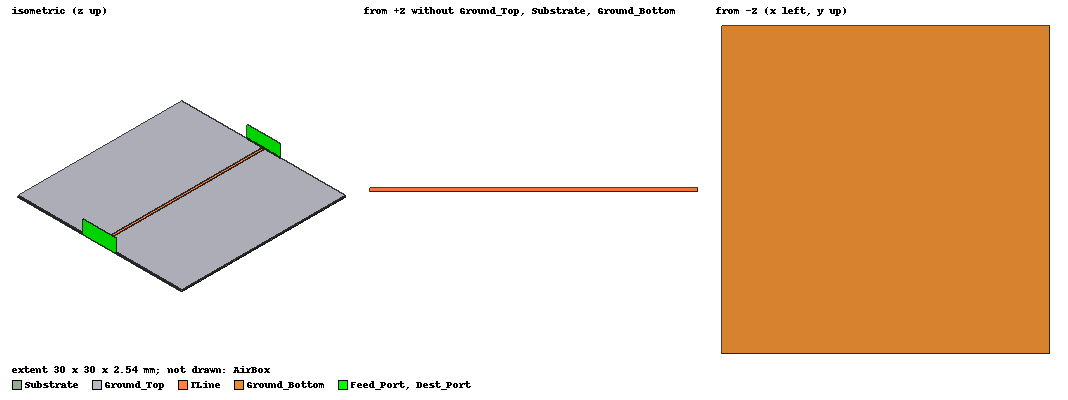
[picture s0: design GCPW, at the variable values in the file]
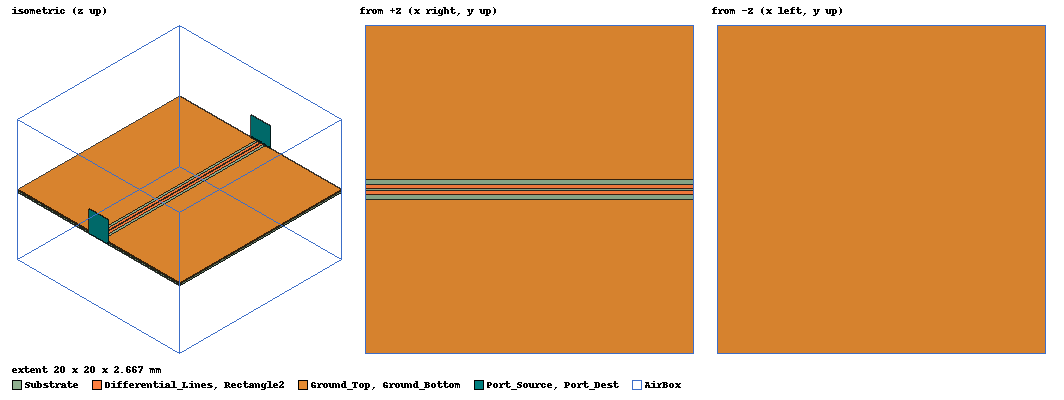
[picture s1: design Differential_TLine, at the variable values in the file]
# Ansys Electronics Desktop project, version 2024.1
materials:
  vacuum: permittivity=1
  Isola I-Speed (R): permittivity=3.64 dielectric_loss_tangent=0.006
  pec: conductivity=1e+30
  Rogers RO4350 (tm): permittivity=3.66 dielectric_loss_tangent=0.004

design GCPW (HFSS, HFSS Modal Network, model units mm)
options: Allow_Material_Override
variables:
  substrate = 30mm
  h_L1L2 = 10mil
  gcpw_width = 12mil
  gcpw_gap = 5mil
  h_AirBox = 20mm
  feedport_width = 20*gcpw_width
  feedport_height = 10*h_L1L2
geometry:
  Substrate [Rogers RO4350 (tm)] = box(corner=(-substrate/2, -substrate/2, 0mm), size=(substrate, substrate, -h_L1L2))
  TLine [pec] = rectangle(corner=(-substrate/2, -gcpw_width/2, 0mm), x_size=substrate, y_size=gcpw_width)
  Ground_Top_Cutout = rectangle(corner=(-substrate/2, -gcpw_width/2 - gcpw_gap, 0mm), x_size=substrate, y_size=gcpw_width + 2*gcpw_gap)
  Ground_Top [pec] = rectangle(corner=(-substrate/2, -substrate/2, 0mm), x_size=substrate, y_size=substrate)
  Ground_Top.subtract(Ground_Top_Cutout)
  Ground_Bottom = rectangle(corner=(-substrate/2, -substrate/2, -h_L1L2), x_size=substrate, y_size=substrate)
  AirBox [vacuum] = box(corner=(-substrate/2, -substrate/2, -h_AirBox/2), size=(substrate, substrate, h_AirBox))
  Feed_Port = rectangle(corner=(substrate/2, -feedport_width/2, -h_L1L2), y_size=feedport_width, z_size=feedport_height)
  Dest_Port = rectangle(corner=(-substrate/2, -feedport_width/2, -h_L1L2), y_size=feedport_width, z_size=feedport_height)
  Via_Wall = rectangle(corner=(-substrate/2, -gcpw_width/2 - gcpw_gap, 0mm), z_size=-h_L1L2, x_size=substrate)
  Rectangle2 = rectangle(corner=(-substrate/2, gcpw_width/2 + gcpw_gap, 0mm), z_size=-h_L1L2, x_size=substrate)
  Via_Wall.unite(Rectangle2)
  [TLine, Ground_Top].thicken(0.7mil)
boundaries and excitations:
  Radiation: Radiation Objects=AirBox
  PerfE_Ground_Bottom: Perfect E Objects=Ground_Bottom
  PerfE_Ground_Top: Perfect E Objects=Ground_Top
  PerfE_TLine: Perfect E Objects=TLine
  PerfE_Via_Wall: Perfect E Objects=Via_Wall
  1: Wave Port Objects=Feed_Port WavePortType=Modal NumModes=1 Modes{Mode1{IntLine{(15, 0, -0.254) -> (15, 0, 2.286)} CharImp=Zpi}}
  2: Wave Port Objects=Dest_Port WavePortType=Modal NumModes=1 Modes{Mode1{IntLine{(-15, 0, -0.254) -> (-15, 0, 2.286)} CharImp=Zpi}}
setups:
  Setup1: HfssDriven Frequency=5GHz MaxDeltaS=0.01 MaximumPasses=16 MinimumPasses=1 MinimumConvergedPasses=1 PercentRefinement=30 BasisOrder=1 PortAccuracy=2 DrivenSolverType="Direct Solver"
    sweep Sweep: 2.5GHz to 7.5GHz, 401 points; Type=Interpolating InterpTolerance=0.5 InterpMaxSolns=250 InterpUsePortImped=false PassivityErrorTolerance=0.0001
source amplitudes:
  1:1: 1W 0deg
  2:1: 0W 0deg
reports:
  Port Zo Plot 1: re(Zo(1)) vs Freq on Setup1 : Sweep
  S Parameter Plot 1: dB(S(2,1)) vs Freq on Setup1 : Sweep

design Differential_TLine (HFSS, HFSS Modal Network, model units mm)
options: Allow_Material_Override
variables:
  substrate = 20mm
  h_L1L2 = 10.5mil
  diff_gap = 4mil
  line_width = 10.5mil
  cutout_width = (2*line_width + diff_gap/2)*2
  port_width = 100mil
  h_AirBox = 15mm
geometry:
  Substrate [Isola I-Speed (R)] = box(corner=(-substrate/2, -substrate/2, 0mm), size=(substrate, substrate, -h_L1L2))
  Differential_Lines [pec] = rectangle(corner=(-substrate/2, -diff_gap/2, 0mm), x_size=substrate, y_size=-line_width)
  Rectangle2 [pec] = rectangle(corner=(-substrate/2, diff_gap/2, 0mm), x_size=substrate, y_size=line_width)
  Ground_Top_Cutout = rectangle(corner=(-substrate/2, -cutout_width/2, 0mm), x_size=substrate, y_size=cutout_width)
  Ground_Top = rectangle(corner=(-substrate/2, -substrate/2, 0mm), x_size=substrate, y_size=substrate)
  Ground_Top.subtract(Ground_Top_Cutout)
  Ground_Bottom = rectangle(corner=(-substrate/2, -substrate/2, -h_L1L2), x_size=substrate, y_size=substrate)
  Port_Source = rectangle(corner=(substrate/2, -port_width/2, -h_L1L2), y_size=port_width, z_size=10*h_L1L2)
  Port_Dest = rectangle(corner=(-substrate/2, -port_width/2, -h_L1L2), y_size=port_width, z_size=10*h_L1L2)
  AirBox [vacuum] = box(corner=(-substrate/2, -substrate/2, -h_AirBox/2), size=(substrate, substrate, h_AirBox))
  Via_Wall = rectangle(corner=(-substrate/2, -cutout_width/2, 0mm), z_size=-h_L1L2, x_size=substrate)
  Via_Wall1 = rectangle(corner=(-substrate/2, cutout_width/2, 0mm), z_size=-h_L1L2, x_size=substrate)
  Via_Wall.unite(Via_Wall1)
  Rectangle2.thicken(0.7mil)
  Differential_Lines.thicken(-0.7mil)
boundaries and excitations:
  PerfE_DiffLines: Perfect E Objects=Differential_Lines
  PerfE_Ground_Bottom: Perfect E Objects=Ground_Bottom
  PerfE_Ground_Top: Perfect E Objects=Ground_Top
  PerfE_Via_Wall: Perfect E Objects=Via_Wall
  PerfE_Diff_Line2: Perfect E Objects=Rectangle2
  3: Wave Port Objects=Port_Source WavePortType=Modal NumModes=2 Modes{Mode1{CharImp=Zpi} Mode2{CharImp=Zpi}}
  4: Wave Port Objects=Port_Dest WavePortType=Modal NumModes=2 Modes{Mode1{CharImp=Zpi} Mode2{CharImp=Zpi}}
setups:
  Setup1: HfssDriven Frequency=5GHz MaxDeltaS=0.01 MaximumPasses=16 MinimumPasses=1 MinimumConvergedPasses=1 PercentRefinement=30 BasisOrder=1 PortAccuracy=2 DrivenSolverType="Direct Solver"
    sweep Sweep: 2.5GHz to 7.5GHz, 401 points; Type=Interpolating InterpTolerance=0.5 InterpMaxSolns=250 InterpUsePortImped=false PassivityErrorTolerance=0.0001
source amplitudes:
  3:1: 1W 0deg
  3:2, 4:1, 4:2: 0W 0deg
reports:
  S Parameter Plot 1: dB(S(3:2,4:2)) vs Freq on Setup1 : Sweep
  Port Zo Plot 1: re(Zo(3:1)), re(Zo(3:2)) vs Freq on Setup1 : Sweep
